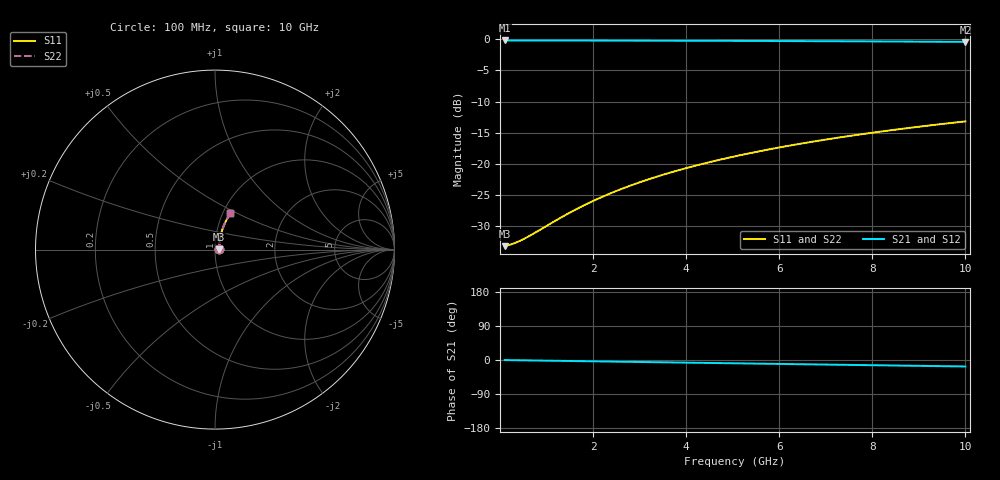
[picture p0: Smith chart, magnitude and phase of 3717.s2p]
# Hz S RI R 50.00
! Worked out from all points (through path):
!   100 points, 100 MHz to 10 GHz, reference 50 ohm
!   highest |S21| = -0.19 dB at 100 MHz (marker M1); lowest = -0.4 dB at 10 GHz (marker M2)
!   group delay of S21, straight-line fit = 4.75 ps
!   lowest |S11| = -33.2 dB at 100 MHz (marker M3), VSWR 1.04, Z = 52.2 + j0.228 ohm
!   |S11| at or under -10 dB: start of sweep to end of sweep
!   |S22| runs from -33.2 to -13.2 dB; largest |S21 - S12| = 0
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1e8  0.0217 0.00218  0.9783 -0.00296  0.9783 -0.00296  0.0217 0.00218
2e8  0.0218 0.00436  0.9782 -0.00593  0.9782 -0.00593  0.0218 0.00436
3e8  0.022 0.00654  0.978 -0.00889  0.978 -0.00889  0.022 0.00654
4e8  0.0221 0.00872  0.9779 -0.0118  0.9779 -0.0118  0.0221 0.00872
5e8  0.0222 0.0109  0.9778 -0.0148  0.9778 -0.0148  0.0222 0.0109
7e8  0.0225 0.0152  0.9775 -0.0207  0.9775 -0.0207  0.0225 0.0152
1.4e9  0.0237 0.0304  0.9762 -0.0414  0.9762 -0.0414  0.0237 0.0304
1.8e9  0.0247 0.0391  0.9752 -0.0532  0.9752 -0.0532  0.0247 0.0391
2.2e9  0.0259 0.0477  0.974 -0.0649  0.974 -0.0649  0.0259 0.0477
2.6e9  0.0272 0.0563  0.9726 -0.0766  0.9726 -0.0766  0.0272 0.0563
3e9  0.0288 0.0648  0.9709 -0.0883  0.9709 -0.0883  0.0288 0.0648
3.4e9  0.0305 0.0733  0.9691 -0.0999  0.9691 -0.0999  0.0305 0.0733
3.8e9  0.0324 0.0817  0.9671 -0.1115  0.9671 -0.1115  0.0324 0.0817
4.2e9  0.0346 0.0901  0.9648 -0.123  0.9648 -0.123  0.0346 0.0901
4.6e9  0.0369 0.0984  0.9624 -0.1344  0.9624 -0.1344  0.0369 0.0984
5.1e9  0.0401 0.1087  0.9591 -0.1486  0.9591 -0.1486  0.0401 0.1087
5.9e9  0.0458 0.1248  0.9531 -0.1711  0.9531 -0.1711  0.0458 0.1248
6.7e9  0.0522 0.1407  0.9463 -0.1932  0.9463 -0.1932  0.0522 0.1407
7.5e9  0.0594 0.1561  0.9388 -0.2149  0.9388 -0.2149  0.0594 0.1561
8.4e9  0.0682 0.1729  0.9295 -0.2388  0.9295 -0.2388  0.0682 0.1729
9.2e9  0.0768 0.1873  0.9205 -0.2596  0.9205 -0.2596  0.0768 0.1873
1e10  0.0859 0.2013  0.9109 -0.2799  0.9109 -0.2799  0.0859 0.2013
